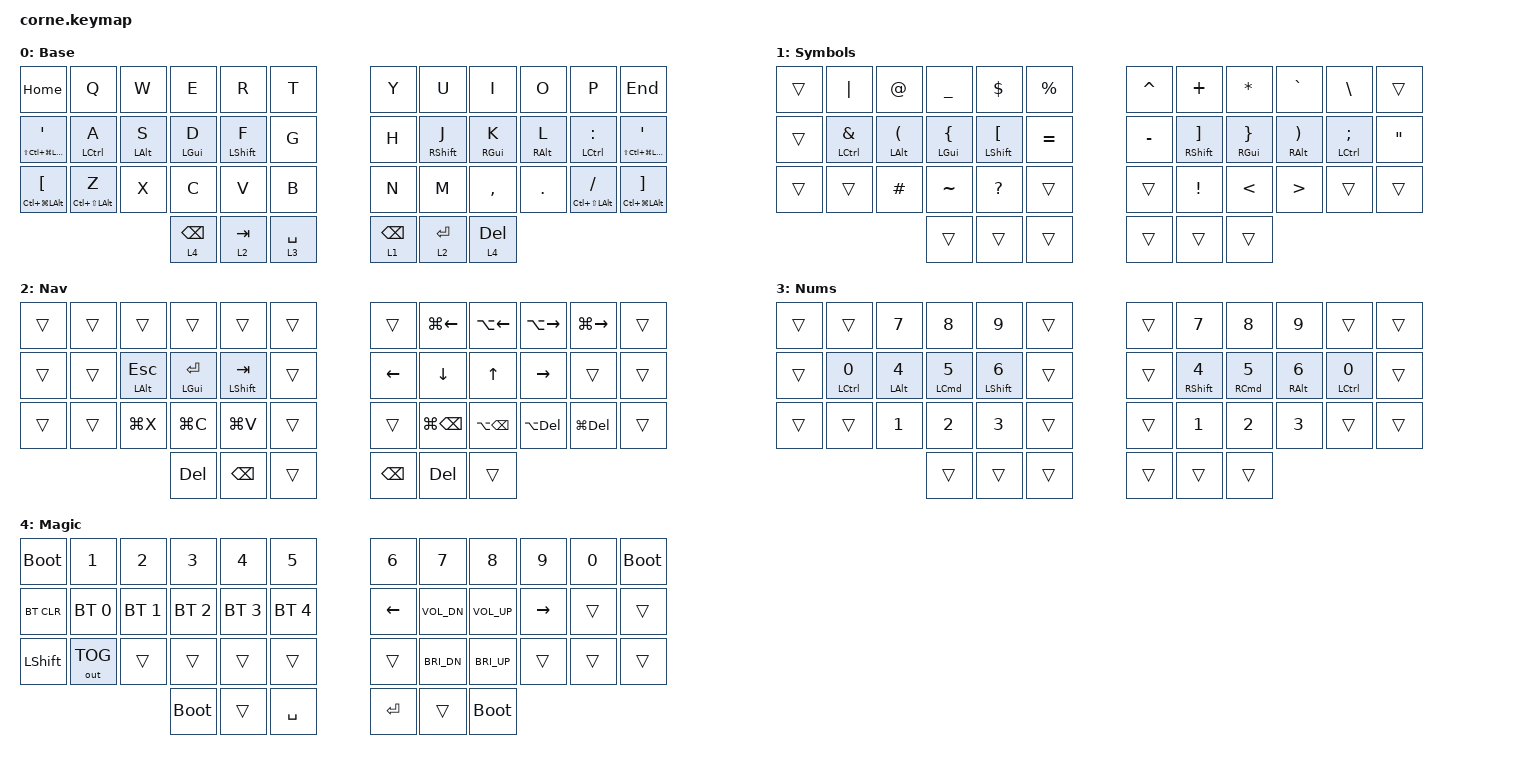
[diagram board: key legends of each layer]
/*
 * Copyright (c) 2020 The ZMK Contributors
 *
 * SPDX-License-Identifier: MIT
 */

#include <behaviors.dtsi>
#include <dt-bindings/zmk/bt.h>
#include <dt-bindings/zmk/keys.h>
#include <dt-bindings/zmk/outputs.h>

/ {
    combos {
        compatible = "zmk,combos";

        fj_combo {
            bindings = <&caps_word>;
            key-positions = <16 19>;
        };

        jk_combo {
            bindings = <&hmr RS(RGUI) ESC>;
            key-positions = <19 20>;
            layers = <0>;
        };

        df_combo {
            bindings = <&hml LS(LGUI) ESC>;
            key-positions = <15 16>;
            layers = <0>;
        };

        jk_combo_symbs {
            bindings = <&hmr RS(RGUI) BSPC>;
            key-positions = <19 20>;
            layers = <1>;
        };

        df_combo_symbs {
            bindings = <&hml LS(LGUI) SPACE>;
            key-positions = <15 16>;
            layers = <1>;
        };

        main_thumbs {
            bindings = <&lt 3 ESC>;
            key-positions = <38 39>;
        };

        f-thb_combo {
            bindings = <&hml LS(SPACE) ESC>;
            key-positions = <16 38>;
            layers = <0>;
        };

        j-thb_combo {
            bindings = <&hmr RS(BSPC) ESC>;
            key-positions = <19 39>;
            layers = <0>;
        };
    };

    behaviors {
        hml: hml {
            compatible = "zmk,behavior-hold-tap";
            label = "HML";
            bindings = <&kp>, <&kp>;

            #binding-cells = <2>;
            tapping-term-ms = <200>;
            quick-tap-ms = <175>;
            require-prior-idle-ms = <50>;
            flavor = "balanced";
            hold-trigger-on-release;
            hold-trigger-key-positions = <36 37 38 39 40 41 6 7 8 9 10 11 18 19 20 21 22 23 30 31 32 33 34 35>;
        };

        hmr: hmr {
            compatible = "zmk,behavior-hold-tap";
            label = "HMR";
            bindings = <&kp>, <&kp>;

            #binding-cells = <2>;
            tapping-term-ms = <200>;
            quick-tap-ms = <175>;
            require-prior-idle-ms = <50>;
            flavor = "balanced";
            hold-trigger-on-release;
            hold-trigger-key-positions = <36 37 38 39 40 41 0 1 2 3 4 5 12 13 14 15 16 17 24 25 26 27 28 29>;
        };

        rev_semi: rev_semi {
            compatible = "zmk,behavior-mod-morph";
            label = "REV_SEMI";
            bindings = <&kp COLON>, <&kp SEMI>;

            #binding-cells = <0>;
            mods = <(MOD_LSFT|MOD_RSFT)>;
        };

        hmr_semi: hmr_semi {
            compatible = "zmk,behavior-hold-tap";
            label = "HMR_SEMI";
            bindings = <&kp>, <&rev_semi>;

            #binding-cells = <2>;
            tapping-term-ms = <200>;
            quick-tap-ms = <175>;
            require-prior-idle-ms = <100>;
            flavor = "balanced";
            hold-trigger-on-release;
            hold-trigger-key-positions = <36 37 38 39 40 41 0 1 2 3 4 5 12 13 14 15 16 17 24 25 26 27 28 29>;
        };
    };

    keymap {
        compatible = "zmk,keymap";

        default_layer {
            display-name = "Base";
            bindings = <
&kp HOME                   &kp Q                &kp W        &kp E        &kp R         &kp T          &kp Y       &kp U         &kp I        &kp O        &kp P                    &kp END
&hml LS(LC(LG(LALT))) SQT  &hml LCTRL A         &hml LALT S  &hml LGUI D  &hml LSHFT F  &kp G          &kp H       &hmr RSHFT J  &hmr RGUI K  &hmr RALT L  &hmr LCTRL COLON         &hmr LS(LC(LG(LALT))) SQT
&hml LC(LG(LALT)) LBKT     &hml LC(LS(LALT)) Z  &kp X        &kp C        &kp V         &kp B          &kp N       &kp M         &kp COMMA    &kp DOT      &hmr LC(LS(LALT)) SLASH  &hml LC(LG(LALT)) RBKT
                                                             &lt 4 BSPC   &lt 2 TAB     &lt 3 SPACE    &lt 1 BSPC  &lt 2 RET     &lt 4 DEL
            >;

            label = "Base";
        };

        symbols_layer {
            display-name = "Symbols";
            bindings = <
&trans  &kp PIPE         &kp AT          &kp UNDER       &kp DLLR         &kp PRCNT    &kp CARET  &kp PLUS         &kp ASTERISK    &kp GRAVE       &kp BACKSLASH    &trans
&trans  &hml LCTRL AMPS  &hml LALT LPAR  &hml LGUI LBRC  &hml LSHFT LBKT  &kp EQUAL    &kp MINUS  &hmr RSHFT RBKT  &hmr RGUI RBRC  &hmr RALT RPAR  &hmr LCTRL SEMI  &kp DQT
&trans  &trans           &kp HASH        &kp TILDE       &kp QMARK        &trans       &trans     &kp EXCL         &kp LT          &kp GT          &trans           &trans
                                         &trans          &trans           &trans       &trans     &trans           &trans
            >;

            label = "Symbls";
        };

        nav_layer {
            display-name = "Nav";
            bindings = <
&trans  &trans  &trans         &trans         &trans          &trans    &trans    &kp LG(LEFT)  &kp LA(LEFT)  &kp LA(RIGHT)  &kp LG(RIGHT)  &trans
&trans  &trans  &hml LALT ESC  &hml LGUI RET  &hml LSHFT TAB  &trans    &kp LEFT  &kp DOWN      &kp UP        &kp RIGHT      &trans         &trans
&trans  &trans  &kp LG(X)      &kp LG(C)      &kp LG(V)       &trans    &trans    &kp LG(BSPC)  &kp LA(BSPC)  &kp LA(DEL)    &kp LG(DEL)    &trans
                               &kp DEL        &kp BSPC        &trans    &kp BSPC  &kp DEL       &trans
            >;

            label = "Nav";
        };

        nums_layer {
            display-name = "Nums";
            bindings = <
&trans  &trans         &kp N7        &kp N8        &kp N9         &trans    &trans  &kp N7         &kp N8        &kp N9        &trans         &trans
&trans  &hml LCTRL N0  &hml LALT N4  &hml LCMD N5  &hml LSHFT N6  &trans    &trans  &hmr RSHFT N4  &hmr RCMD N5  &hmr RALT N6  &hmr LCTRL N0  &trans
&trans  &trans         &kp N1        &kp N2        &kp N3         &trans    &trans  &kp N1         &kp N2        &kp N3        &trans         &trans
                                     &trans        &trans         &trans    &trans  &trans         &trans
            >;

            label = "Numbers";
        };

        magic_layer {
            display-name = "Magic";
            bindings = <
&bootloader  &kp N1        &kp N2        &kp N3        &kp N4        &kp N5          &kp N6    &kp N7        &kp N8           &kp N9     &kp N0  &bootloader
&bt BT_CLR   &bt BT_SEL 0  &bt BT_SEL 1  &bt BT_SEL 2  &bt BT_SEL 3  &bt BT_SEL 4    &kp LEFT  &kp C_VOL_DN  &kp C_VOLUME_UP  &kp RIGHT  &trans  &trans
&kp LSHFT    &out OUT_TOG  &trans        &trans        &trans        &trans          &trans    &kp C_BRI_DN  &kp C_BRI_UP     &trans     &trans  &trans
                                         &bootloader   &trans        &kp SPACE       &kp RET   &trans        &bootloader
            >;

            label = "Magic";
        };
    };
};
